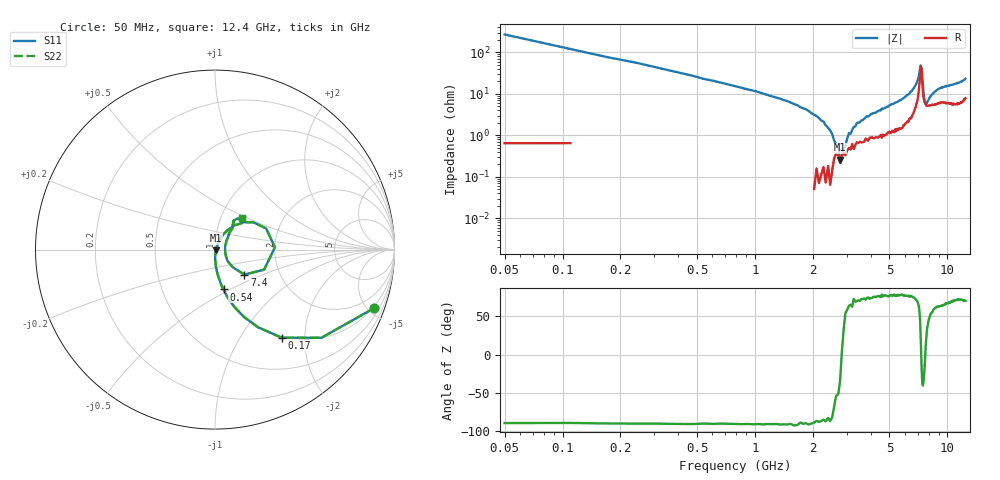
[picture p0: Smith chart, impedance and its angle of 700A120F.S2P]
!  American Technical Ceramics  Date:  3/13/98
!  One Norden Lane
!  Huntington Station,  NY.  11746-2102
!  Tel:  (516) 547-5700  Fax:  (516) 547-5748
!  Part Number  700A120F
!  Description: Porcelain, High Q, Low ESR
!  Application: Bypass, Coupling, Timing, Feedback
!  Tuning, Impedance Match, Blocking
# GHZ S DB R 50
! Freq  |S11|  S11 Ph  |S21|  S21 Ph  |S12|  S12 Ph  |S22|  S22 Ph
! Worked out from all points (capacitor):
!   201 points, 50 MHz to 12.4 GHz, reference 50 ohm
!   read as one part in series: C = 12 pF near 110 MHz
!   lowest |Z| = 261 mohm at 2.77 GHz (marker M1)
!   series resonance near 2.821 GHz, so ESL is about 260 pH
!   S11 on the Smith chart (normalised r, x): 50 MHz: 0.92, -5.43; 170 MHz: 0.98, -1.54; 540 MHz: 0.99, -0.46; 7.4 GHz: 1.33, -0.39; 12.4 GHz: 1.26, +0.47
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0.05  -0.51 -20.3  -9.13 69.5  -9.13 69.5  -0.51 -20.3
0.11  -2.27 -39.6  -3.86 49.9  -3.86 49.9  -2.27 -39.6
0.17  -4.22 -52.9  -2.01 37.4  -2.01 37.4  -4.22 -52.9
0.3  -7.76 -66.7  -0.77 24.0  -0.77 24.0  -7.76 -66.7
0.54  -12.89 -77.9  -0.22 12.8  -0.22 12.8  -12.89 -77.9
2.15  -30.50 -87.4  -0.01 1.3  -0.01 1.3  -30.50 -87.4
2.46  -35.88 -80.2  0.01 0.6  0.01 0.6  -35.88 -80.2
2.77  -44.46 -43.9  0.00 -0.1  0.00 -0.1  -44.46 -43.9
2.89  -45.79 -1.4  -0.02 -0.3  -0.02 -0.3  -45.79 -1.4
3.45  -35.33 54.0  -0.03 -1.4  -0.03 -1.4  -35.33 54.0
4.19  -31.10 60.5  -0.04 -2.4  -0.04 -2.4  -31.10 60.5
6.23  -22.24 62.9  -0.16 -6.3  -0.16 -6.3  -22.24 62.9
6.84  -16.96 54.8  -0.34 -9.7  -0.34 -9.7  -16.96 54.8
7.15  -11.64 35.6  -1.27 -15.1  -1.27 -15.1  -11.64 35.6
7.27  -9.52 2.1  -3.19 -10.6  -3.19 -10.6  -9.52 2.1
7.4  -13.35 -40.3  -1.87 5.0  -1.87 5.0  -13.35 -40.3
7.58  -22.82 -32.1  -0.60 0.8  -0.60 0.8  -22.82 -32.1
7.71  -25.02 -1.8  -0.44 -1.2  -0.44 -1.2  -25.02 -1.8
8.32  -19.87 44.5  -0.36 -4.2  -0.36 -4.2  -19.87 44.5
9  -16.84 50.2  -0.36 -5.8  -0.36 -5.8  -16.84 50.2
10.36  -14.99 55.6  -0.38 -7.0  -0.38 -7.0  -14.99 55.6
12.4  -12.70 49.5  -0.43 -11.3  -0.43 -11.3  -12.70 49.5
